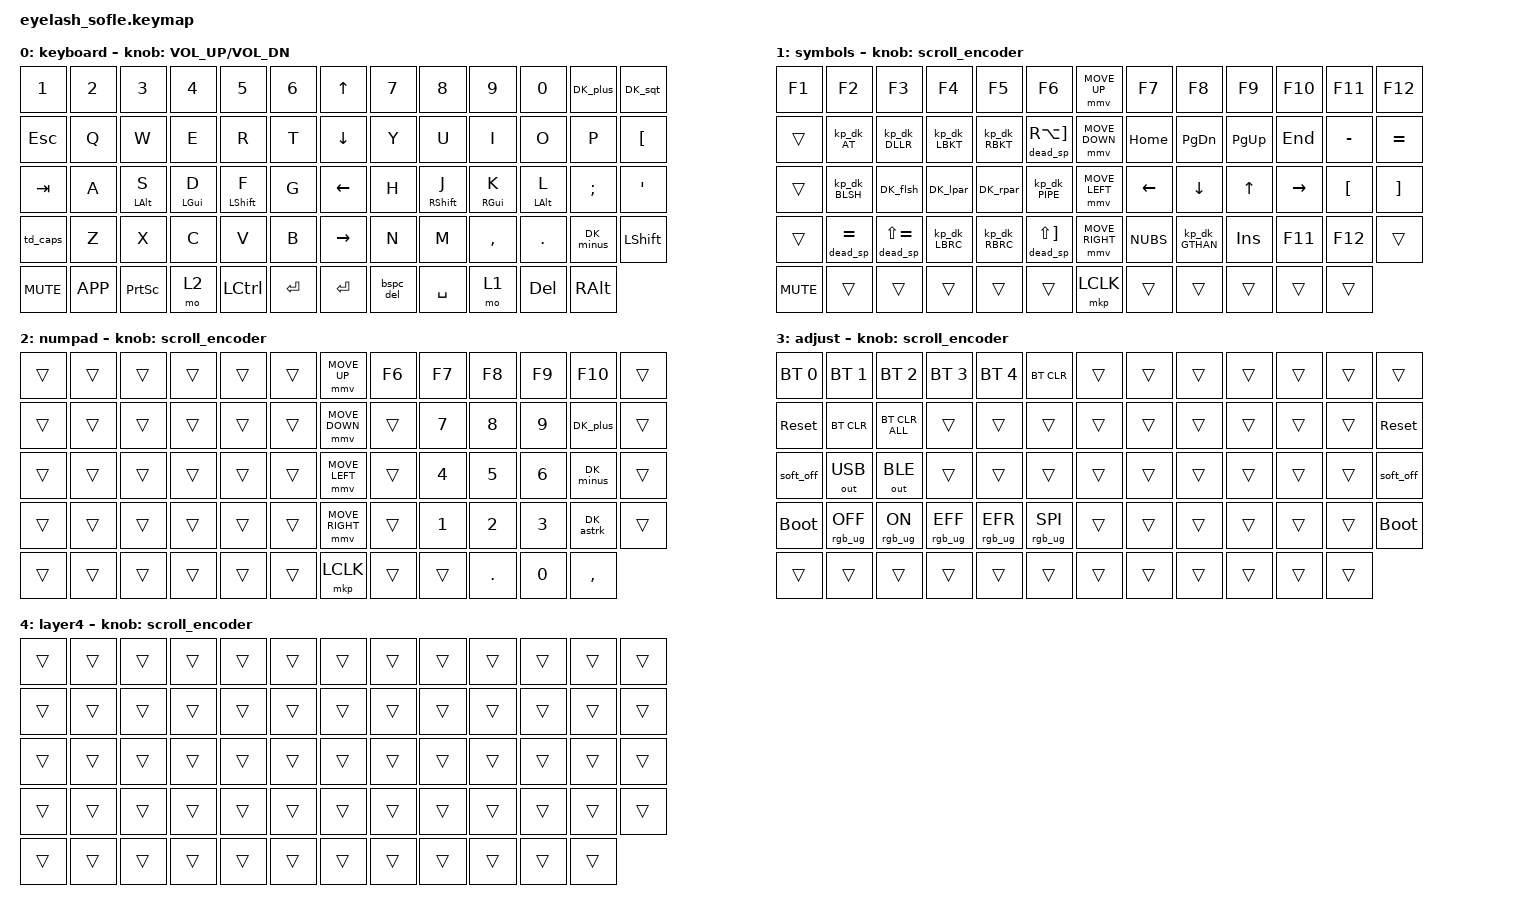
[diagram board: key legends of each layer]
#define ZMK_POINTING_DEFAULT_MOVE_VAL 1200  // 600
#define ZMK_POINTING_DEFAULT_SCRL_VAL 25   // 10

#include <input/processors.dtsi>
#include <zephyr/dt-bindings/input/input-event-codes.h>
#include <behaviors.dtsi>
#include <dt-bindings/zmk/bt.h>
#include <dt-bindings/zmk/keys.h>
#include <dt-bindings/zmk/outputs.h>
#include <dt-bindings/zmk/pointing.h>
#include <dt-bindings/zmk/rgb.h>
#include <dt-bindings/zmk/outputs.h>
#include "zmk-helpers/key-labels/sofle.h"

&mmv_input_listener { input-processors = <&zip_xy_scaler 2 1>; };

&msc_input_listener { input-processors = <&zip_scroll_scaler 2 1>; };

#include "aliases.h"

&msc {
    acceleration-exponent = <1>;      // 0
    time-to-max-speed-ms = <100>;       // 300
    delay-ms = <0>;                   // 0
};

&mmv {
    time-to-max-speed-ms = <500>;
    acceleration-exponent = <1>;
    trigger-period-ms = <16>;
};

#define KEYS_L LN5 LN4 LN3 LN2 LN1 LN0 LT5 LT4 LT3 LT2 LT1 LT0 LM5 LM4 LM3 LM2 LM1 LM0 LB5 LB4 LB3 LB2 LB1 LB0
#define KEYS_R RN5 RN4 RN3 RN2 RN1 RN0 RT5 RT4 RT3 RT2 RT1 RT0 RM5 RM4 RM3 RM2 RM1 RM0 RB5 RB4 RB3 RB2 RB1 RB0
#define THUMBS LH4 LH3 LH2 LH1 LH0 RH0 RH1 RH2 RH3 RH4
#define HM_TAPPING_TERM 200
&soft_off { hold-time-ms = <2000>; };

// Danish æ ø å and -/_ keep caps word active
&caps_word { continue-list = <BSPC DEL FSLH SEMI SQT LBKT>; };

/ {
    scroll_encoder: scroll_encoder {
        compatible = "zmk,behavior-sensor-rotate";
        #sensor-binding-cells = <0>;
        bindings = <&msc SCRL_DOWN>, <&msc SCRL_UP>;

        tap-ms = <100>;
    };
    macros {
        // Dead key followed by space so the symbol is typed immediately
        dead_sp: dead_space {
            compatible = "zmk,behavior-macro-one-param";
            #binding-cells = <1>;
            bindings
                = <&macro_param_1to1>
                , <&macro_tap &kp MACRO_PLACEHOLDER>
                , <&macro_tap &kp SPACE>
                ;
        };
        kp_dk_LBKT: kp_dk_LBKT { // this is a macro for writting "[" on danish keyboards.
            label = "kp_dk_LBKT";
            compatible = "zmk,behavior-macro";
            #binding-cells = <0>;
            bindings
                = <&macro_press &kp RALT>
                , <&macro_tap &kp N8>
                , <&macro_release &kp RALT>
                ;
        };
        kp_dk_RBKT: kp_dk_RBKT { // this is a macro for writting "]" on danish keyboards.
            label = "kp_dk_RBKT";
            compatible = "zmk,behavior-macro";
            #binding-cells = <0>;
            bindings
                = <&macro_press &kp RALT>
                , <&macro_tap &kp N9>
                , <&macro_release &kp RALT>
                ;
        };
        kp_dk_LBRC: kp_dk_LBRC { // this is a macro for writting "{" on danish keyboards.
            label = "kp_dk_LBRC";
            compatible = "zmk,behavior-macro";
            #binding-cells = <0>;
            bindings
                = <&macro_press &kp RALT>
                , <&macro_tap &kp N7>
                , <&macro_release &kp RALT>
                ;
        };
        kp_dk_RBRC: kp_dk_RBRC { // this is a macro for writting "}" on danish keyboards.
            label = "kp_dk_RBRC";
            compatible = "zmk,behavior-macro";
            #binding-cells = <0>;
            bindings
                = <&macro_press &kp RALT>
                , <&macro_tap &kp N0>
                , <&macro_release &kp RALT>
                ;
        };
        copy: copy { // this is a macro for copying
            label = "copy";
            compatible = "zmk,behavior-macro";
            #binding-cells = <0>;
            bindings
                = <&macro_press &kp LCTRL>
                , <&macro_tap &kp C>
                , <&macro_release &kp LCTRL>
                ;
        };
        dk_paste: dk_paste { // this is a macro for pasting
            label = "dk_paste";
            compatible = "zmk,behavior-macro";
            #binding-cells = <0>;
            bindings
                = <&macro_press &kp LCTRL>
                , <&macro_tap &kp V>
                , <&macro_release &kp LCTRL>
                ;
        };
        del_word: del_word { // this is a macro for utilising the delete word functionality on windows
            label = "del_word";
            compatible = "zmk,behavior-macro";
            #binding-cells = <0>;
            bindings
                = <&macro_press &kp LCTRL>
                , <&macro_tap &kp BACKSPACE>
                , <&macro_release &kp LCTRL>
                ;
        };
        kp_dk_BLSH: kp_dk_BLSH { // this is a macro for writting "\" on danish keyboards.
            label = "kp_dk_BLSH";
            compatible = "zmk,behavior-macro";
            #binding-cells = <0>;
           bindings
                = <&macro_press &kp RALT>
                , <&macro_tap &kp NON_US_BACKSLASH>
                , <&macro_release &kp RALT>
                ;
        };
        kp_dk_PIPE: kp_dk_PIPE { // this is a macro for writting "|" on danish keyboards.
            label = "kp_dk_PIPE";
            compatible = "zmk,behavior-macro";
            #binding-cells = <0>;
            bindings
                = <&macro_press &kp RALT>
                , <&macro_tap &kp EQUAL>
                , <&macro_release &kp RALT>
                ;
        };
        kp_dk_TILDE: kp_dk_TILDE { // this is a macro for writting "~" on danish keyboards.
            label = "kp_dk_TILDE";
            compatible = "zmk,behavior-macro";
            #binding-cells = <0>;
            bindings
                = <&macro_press &kp RALT>
                , <&macro_tap &kp RBKT>
                , <&macro_release &kp RALT>
                ;
        };
        kp_dk_SACUTE: kp_dk_SACUTE { // this is a macro for writting "~" on danish keyboards.
            label = "kp_dk_SACUTE";
            compatible = "zmk,behavior-macro";
            #binding-cells = <0>;
            bindings
                = <&macro_press &kp RSHIFT>
                , <&macro_tap &kp EQUAL>
                , <&macro_release &kp RSHIFT>
                ;
        };
        kp_dk_UNDER: kp_dk_UNDER { // this is a macro for writting "_" on danish keyboards.
            label = "kp_dk_UNDER";
            compatible = "zmk,behavior-macro";
            #binding-cells = <0>;
            bindings
                = <&macro_press &kp LSHIFT>
                , <&macro_tap &kp FSLH>
                , <&macro_release &kp LSHIFT>
                ;
        };
        kp_dk_GTHAN: kp_dk_GTHAN { // this is a macro for writting "_" on danish keyboards.
            label = "kp_dk_GTHAN";
            compatible = "zmk,behavior-macro";
            #binding-cells = <0>;
            bindings
                = <&macro_press &kp LSHIFT>
                , <&macro_tap &kp NUBS>
                , <&macro_release &kp LSHIFT>
                ;
        };
        mod_left: mod_left { // this is a macro for writting "_" on danish keyboards.
            label = "mod_left";
            compatible = "zmk,behavior-macro";
            #binding-cells = <0>;
            bindings
                = <&macro_press &kp LGUI>
                , <&macro_tap &kp LEFT>
                , <&macro_release &kp LGUI>
                ;
        };
        mod_up: mod_up { // this is a macro for writting "_" on danish keyboards.
            label = "mod_up";
            compatible = "zmk,behavior-macro";
            #binding-cells = <0>;
            bindings
                = <&macro_press &kp LGUI>
                , <&macro_tap &kp UP>
                , <&macro_release &kp LGUI>
                ;
        };
        mod_right: mod_right { // this is a macro for writting "_" on danish keyboards.
            label = "mod_right";
            compatible = "zmk,behavior-macro";
            #binding-cells = <0>;
            bindings
                = <&macro_press &kp LGUI>
                , <&macro_tap &kp RIGHT>
                , <&macro_release &kp LGUI>
                ;
        };
        mod_down: mod_down { // this is a macro for writting "_" on danish keyboards.
            label = "mod_down";
            compatible = "zmk,behavior-macro";
            #binding-cells = <0>;
            bindings
                = <&macro_press &kp LGUI>
                , <&macro_tap &kp DOWN>
                , <&macro_release &kp LGUI>
                ;
        };
        kp_dk_AT: kp_dk_AT { // this is a macro for writting "_" on danish keyboards.
            label = "kp_dk_AT";
            compatible = "zmk,behavior-macro";
            #binding-cells = <0>;
            bindings
                = <&macro_press &kp RALT>
                , <&macro_tap &kp N2>
                , <&macro_release &kp RALT>
                ;
        };
        kp_dk_DLLR: KP_DK_DLLR { // this is a macro for writting "_" on danish keyboards.
            label = "kp_dk_DLLR";
            compatible = "zmk,behavior-macro";
            #binding-cells = <0>;
            bindings
                = <&macro_press &kp RALT>
                , <&macro_tap &kp N4>
                , <&macro_release &kp RALT>
                ;
        };

    };
    conditional_layers {
        compatible = "zmk,conditional-layers";
        adjust_layer {
            if-layers = <1 2>;
            then-layer = <3>;
        };
    };

    behaviors {
        bspc_del: backspace_delete {
            compatible = "zmk,behavior-mod-morph";
            #binding-cells = <0>;
            bindings = <&kp BSPC>, <&kp DEL>;
            mods = <(MOD_LSFT|MOD_RSFT)>;
        };

        td_caps: tap_dance_caps {
            compatible = "zmk,behavior-tap-dance";
            #binding-cells = <0>;
            tapping-term-ms = <200>;
            bindings = <&kp CAPS>, <&caps_word>;
        };

        // Positional Homerow mods
        // Homerow mods that prevent accidental activations when rolling keys,
        // such as when typing `st` or `ne` on colemak-dh layouts or `as` on
        // qwerty.
        //
        // Works by only allowing a mod to activate within tapping-term if
        // it's on the opposite side of the keyboard or on the same side thumb
        // keys.

        // Further optimization using urob's timerless homerow mods method:
        // https://github.com/urob/zmk-config#timeless-homerow-mods
        hm_l: homerow_mods_left {
            compatible = "zmk,behavior-hold-tap";
            #binding-cells = <2>;
            bindings = <&kp>,  <&kp>;

            flavor = "tap-preferred";
            tapping-term-ms = <HM_TAPPING_TERM>;
            quick-tap-ms = <200>;

            hold-trigger-key-positions = <KEYS_R THUMBS>;
            hold-trigger-on-release;
        };

        hm_r: homerow_mods_right {
            compatible = "zmk,behavior-hold-tap";
            #binding-cells = <2>;
            bindings = <&kp>, <&kp>;

            flavor = "tap-preferred";
            tapping-term-ms = <HM_TAPPING_TERM>;
            quick-tap-ms = <200>;

            hold-trigger-key-positions = <KEYS_L THUMBS>;
            hold-trigger-on-release;
        };


        // Positional Homerow mods for shift
        // Use faster tapping term and disable some features that may
        // cause false negatives.
        hm_shift_l: hm_shift_l {
            compatible = "zmk,behavior-hold-tap";
            #binding-cells = <2>;
            bindings = <&kp>, <&kp>;

            flavor = "tap-preferred";
            tapping-term-ms = <HM_TAPPING_TERM>;
            quick-tap-ms = <200>;

            hold-trigger-key-positions = <KEYS_R THUMBS>;
            hold-trigger-on-release;
        };

        hm_shift_r: hm_shift_r {
            compatible = "zmk,behavior-hold-tap";
            #binding-cells = <2>;
            bindings = <&kp>, <&kp>;

            flavor = "tap-preferred";
            tapping-term-ms = <HM_TAPPING_TERM>;
            quick-tap-ms = <200>;

            hold-trigger-key-positions = <KEYS_L THUMBS>;
            hold-trigger-on-release;
        };
      hml: mod_tap {
            compatible = "zmk,behavior-hold-tap";
            flavor = "tap-preferred";
            tapping-term-ms = <150>;
            quick-tap-ms = <145>;
            require-prior-idle-ms = <120>;
            bindings = <&kp>, <&kp>;
            display-name = "Mod-Tap";
            hold-trigger-key-positions = <KEYS_R THUMBS>;
            hold-trigger-on-release;
        };
      hmr: mod_tap {
            compatible = "zmk,behavior-hold-tap";
            flavor = "tap-preferred";
            tapping-term-ms = <150>;
            quick-tap-ms = <145>;
            require-prior-idle-ms = <120>;
            bindings = <&kp>, <&kp>;
            display-name = "Mod-Tap";
            hold-trigger-key-positions = <KEYS_L THUMBS>;
            hold-trigger-on-release;
        };
    };
    keymap {
        compatible = "zmk,keymap";

        layer0 {
            bindings = <
&kp N1      &kp N2     &kp N3        &kp N4        &kp N5        &kp N6             &kp UP_ARROW              &kp N7        &kp N8       &kp N9      &kp N0           &kp DK_plus     &kp DK_sqt
&kp ESC     &kp Q      &kp W         &kp E         &kp R         &kp T              &kp DOWN_ARROW            &kp Y         &kp U        &kp I       &kp O            &kp P           &kp LBKT
&kp TAB     &kp A      &hm_l LALT S  &hm_l LGUI D  &hm_shift_l LSHIFT F  &kp G              &kp LEFT_ARROW            &kp H         &hm_shift_r RSHIFT J &hm_r RGUI K  &hm_r LALT L       &kp SEMI        &kp SQT
&td_caps    &kp Z      &kp X         &kp C         &kp V         &kp B              &kp RIGHT_ARROW           &kp N         &kp M        &kp COMMA   &kp DOT          &kp DK_minus    &kp LSHIFT
&kp C_MUTE  &kp K_APP  &kp PSCRN     &mo 2         &kp LCTRL     &kp ENTER          &kp ENTER                 &bspc_del     &kp SPACE    &mo 1       &kp DELETE       &kp RALT
            >;

            sensor-bindings = <&inc_dec_kp C_VOLUME_UP C_VOL_DN>;
            display-name = "keyboard";
        };

        layer_1 {
            bindings = <
&kp F1      &kp F2           &kp F3           &kp F4          &kp F5           &kp F6             &mmv MOVE_UP     &kp F7           &kp F8           &kp F9      &kp F10    &kp F11           &kp F12
&trans      &kp_dk_AT        &kp_dk_DLLR      &kp_dk_LBKT      &kp_dk_RBKT     &dead_sp RA(RBKT)  &mmv MOVE_DOWN   &kp HOME         &kp PG_DN        &kp PG_UP   &kp END   &kp MINUS         &kp EQUAL
&trans      &kp_dk_BLSH      &kp DK_flsh      &kp DK_lpar      &kp DK_rpar     &kp_dk_PIPE        &mmv MOVE_LEFT   &kp LEFT         &kp DOWN         &kp UP      &kp RIGHT  &kp LEFT_BRACKET  &kp RIGHT_BRACKET
&trans      &dead_sp EQUAL   &dead_sp LS(EQUAL) &kp_dk_LBRC   &kp_dk_RBRC     &dead_sp LS(RBKT)  &mmv MOVE_RIGHT  &kp NUBS         &kp_dk_GTHAN     &kp INSERT  &kp F11    &kp F12           &trans
&kp C_MUTE  &trans           &trans          &trans           &trans           &trans             &mkp LCLK        &trans           &trans           &trans      &trans     &trans
            >;

            display-name = "symbols";
            sensor-bindings = <&scroll_encoder>;
        };

        layer_2 {
            bindings = <
&trans        &trans           &trans          &trans           &trans        &trans                         &mmv MOVE_UP             &kp F6  &kp F7     &kp F8      &kp F9     &kp F10      &trans
&trans        &trans           &trans          &trans           &trans        &trans                         &mmv MOVE_DOWN           &trans  &kp N7     &kp N8      &kp N9     &kp DK_plus  &trans
&trans        &trans           &trans          &trans           &trans        &trans                         &mmv MOVE_LEFT           &trans  &kp N4     &kp N5      &kp N6     &kp DK_minus &trans
&trans        &trans           &trans          &trans           &trans        &trans                         &mmv MOVE_RIGHT          &trans  &kp N1     &kp N2      &kp N3     &kp DK_astrk &trans
&trans        &trans           &trans          &trans           &trans        &trans                         &mkp LCLK                &trans  &trans     &kp DOT  &kp N0      &kp COMMA
            >;

            display-name = "numpad";
            sensor-bindings = <&scroll_encoder>;
        };

        // Activated by holding both layer keys (see conditional_layers)
        layer_3 {
            bindings = <
&bt BT_SEL 0  &bt BT_SEL 1     &bt BT_SEL 2    &bt BT_SEL 3     &bt BT_SEL 4  &bt BT_CLR                     &trans                   &trans  &trans     &trans      &trans     &trans       &trans
&sys_reset    &bt BT_CLR       &bt BT_CLR_ALL  &trans           &trans        &trans                         &trans                   &trans  &trans     &trans      &trans     &trans       &sys_reset
&soft_off     &out OUT_USB     &out OUT_BLE    &trans           &trans        &trans                         &trans                   &trans  &trans     &trans      &trans     &trans       &soft_off
&bootloader   &rgb_ug RGB_OFF  &rgb_ug RGB_ON  &rgb_ug RGB_EFF  &rgb_ug RGB_EFR  &rgb_ug RGB_SPI             &trans                   &trans  &trans     &trans      &trans     &trans       &bootloader
&trans        &trans           &trans          &trans           &trans        &trans                         &trans                   &trans  &trans     &trans      &trans     &trans
            >;

            display-name = "adjust";
            sensor-bindings = <&scroll_encoder>;
        };

        layer_4 {
            bindings = <
&trans  &trans  &trans  &trans  &trans  &trans    &trans  &trans  &trans  &trans  &trans  &trans  &trans
&trans  &trans  &trans  &trans  &trans  &trans    &trans  &trans  &trans  &trans  &trans  &trans  &trans
&trans  &trans  &trans  &trans  &trans  &trans    &trans  &trans  &trans  &trans  &trans  &trans  &trans
&trans  &trans  &trans  &trans  &trans  &trans    &trans  &trans  &trans  &trans  &trans  &trans  &trans
&trans  &trans  &trans  &trans  &trans  &trans    &trans  &trans  &trans  &trans  &trans  &trans
            >;

            display-name = "layer4";
            sensor-bindings = <&scroll_encoder>;
        };
    };
};


